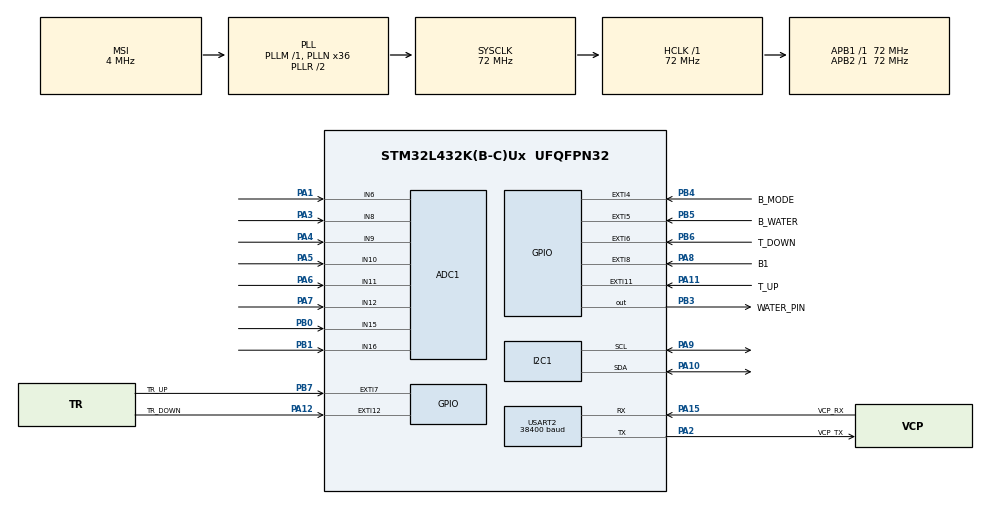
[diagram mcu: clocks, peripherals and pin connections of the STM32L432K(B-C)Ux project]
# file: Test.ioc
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ADC1.Channel-0\#ChannelRegularConversion=ADC_CHANNEL_6
ADC1.Channel-1\#ChannelRegularConversion=ADC_CHANNEL_8
ADC1.Channel-2\#ChannelRegularConversion=ADC_CHANNEL_9
ADC1.Channel-3\#ChannelRegularConversion=ADC_CHANNEL_10
ADC1.Channel-4\#ChannelRegularConversion=ADC_CHANNEL_11
ADC1.Channel-5\#ChannelRegularConversion=ADC_CHANNEL_12
ADC1.Channel-6\#ChannelRegularConversion=ADC_CHANNEL_15
ADC1.Channel-7\#ChannelRegularConversion=ADC_CHANNEL_16
ADC1.NbrOfConversion=8
ADC1.NbrOfConversionFlag=1
ADC1.OffsetNumber-0\#ChannelRegularConversion=ADC_OFFSET_NONE
ADC1.OffsetNumber-1\#ChannelRegularConversion=ADC_OFFSET_NONE
ADC1.OffsetNumber-2\#ChannelRegularConversion=ADC_OFFSET_NONE
ADC1.OffsetNumber-3\#ChannelRegularConversion=ADC_OFFSET_NONE
ADC1.OffsetNumber-4\#ChannelRegularConversion=ADC_OFFSET_NONE
ADC1.OffsetNumber-5\#ChannelRegularConversion=ADC_OFFSET_NONE
ADC1.OffsetNumber-6\#ChannelRegularConversion=ADC_OFFSET_NONE
ADC1.OffsetNumber-7\#ChannelRegularConversion=ADC_OFFSET_NONE
ADC1.Rank-0\#ChannelRegularConversion=1
ADC1.Rank-1\#ChannelRegularConversion=2
ADC1.Rank-2\#ChannelRegularConversion=3
ADC1.Rank-3\#ChannelRegularConversion=4
ADC1.Rank-4\#ChannelRegularConversion=5
ADC1.Rank-5\#ChannelRegularConversion=6
ADC1.Rank-6\#ChannelRegularConversion=7
ADC1.Rank-7\#ChannelRegularConversion=8
ADC1.SamplingTime-0\#ChannelRegularConversion=ADC_SAMPLETIME_24CYCLES_5
ADC1.SamplingTime-1\#ChannelRegularConversion=ADC_SAMPLETIME_24CYCLES_5
ADC1.SamplingTime-2\#ChannelRegularConversion=ADC_SAMPLETIME_24CYCLES_5
ADC1.SamplingTime-3\#ChannelRegularConversion=ADC_SAMPLETIME_24CYCLES_5
ADC1.SamplingTime-4\#ChannelRegularConversion=ADC_SAMPLETIME_24CYCLES_5
ADC1.SamplingTime-5\#ChannelRegularConversion=ADC_SAMPLETIME_24CYCLES_5
ADC1.SamplingTime-6\#ChannelRegularConversion=ADC_SAMPLETIME_24CYCLES_5
ADC1.SamplingTime-7\#ChannelRegularConversion=ADC_SAMPLETIME_24CYCLES_5
ADC1.master=1
Dma.ADC1.0.Direction=DMA_PERIPH_TO_MEMORY
Dma.ADC1.0.Instance=DMA1_Channel1
Dma.ADC1.0.MemDataAlignment=DMA_MDATAALIGN_WORD
Dma.ADC1.0.MemInc=DMA_MINC_ENABLE
Dma.ADC1.0.Mode=DMA_CIRCULAR
Dma.ADC1.0.PeriphDataAlignment=DMA_PDATAALIGN_WORD
Dma.ADC1.0.PeriphInc=DMA_PINC_DISABLE
Dma.ADC1.0.Priority=DMA_PRIORITY_LOW
Dma.Request0=ADC1
I2C1.Timing=0x10808DD3
Mcu.Family=STM32L4
Mcu.Name=STM32L432K(B-C)Ux
Mcu.Package=UFQFPN32
NVIC.DMA1_Channel1_IRQn=true\:0\:0\:false\:false\:true\:false\:true\:true
NVIC.EXTI15_10_IRQn=true\:1\:0\:true\:false\:true\:true\:true\:true
NVIC.EXTI4_IRQn=true\:1\:0\:true\:false\:true\:true\:true\:true
NVIC.EXTI9_5_IRQn=true\:1\:0\:true\:false\:true\:true\:true\:true
NVIC.PriorityGroup=NVIC_PRIORITYGROUP_4
NVIC.TIM6_DAC_IRQn=true\:0\:0\:false\:false\:true\:true\:true\:true
PA0.GPIO_Label=MCO [High speed clock in]
PA0.Mode=HSE-External-Clock-Source-for-LittleOrca
PA0.Signal=RCC_CK_IN
PA1.Signal=ADCx_IN6
PA10.Mode=I2C
PA10.Signal=I2C1_SDA
PA11.GPIO_Label=T_UP
PA11.GPIO_ModeDefaultEXTI=GPIO_MODE_IT_FALLING
PA11.Signal=GPXTI11
PA12.GPIO_Label=TR_DOWN
PA12.GPIO_ModeDefaultEXTI=GPIO_MODE_IT_FALLING
PA12.Signal=GPXTI12
PA13\ (JTMS-SWDIO).GPIO_Label=SWDIO
PA13\ (JTMS-SWDIO).Mode=Serial_Wire
PA13\ (JTMS-SWDIO).Signal=SYS_JTMS-SWDIO
PA14\ (JTCK-SWCLK).GPIO_Label=SWCLK
PA14\ (JTCK-SWCLK).Mode=Serial_Wire
PA14\ (JTCK-SWCLK).Signal=SYS_JTCK-SWCLK
PA15\ (JTDI).GPIO_Label=VCP_RX
PA15\ (JTDI).Mode=Asynchronous
PA15\ (JTDI).Signal=USART2_RX
PA2.GPIO_Label=VCP_TX
PA2.Mode=Asynchronous
PA2.Signal=USART2_TX
PA3.Signal=ADCx_IN8
PA4.Signal=ADCx_IN9
PA5.Signal=ADCx_IN10
PA6.Signal=ADCx_IN11
PA7.Signal=ADCx_IN12
PA8.GPIO_Label=B1
PA8.GPIO_ModeDefaultEXTI=GPIO_MODE_IT_FALLING
PA8.Signal=GPXTI8
PA9.Mode=I2C
PA9.Signal=I2C1_SCL
PB0.Signal=ADCx_IN15
PB1.Signal=ADCx_IN16
PB3\ (JTDO-TRACESWO).GPIO_Label=WATER_PIN
PB3\ (JTDO-TRACESWO).Signal=GPIO_Output
PB4\ (NJTRST).GPIO_Label=B_MODE
PB4\ (NJTRST).GPIO_ModeDefaultEXTI=GPIO_MODE_IT_FALLING
PB4\ (NJTRST).Signal=GPXTI4
PB5.GPIO_Label=B_WATER
PB5.GPIO_ModeDefaultEXTI=GPIO_MODE_IT_FALLING
PB5.Signal=GPXTI5
PB6.GPIO_Label=T_DOWN
PB6.GPIO_ModeDefaultEXTI=GPIO_MODE_IT_FALLING
PB6.Signal=GPXTI6
PB7.GPIO_Label=TR_UP
PB7.GPIO_ModeDefaultEXTI=GPIO_MODE_IT_FALLING
PB7.Signal=GPXTI7
PC14-OSC32_IN\ (PC14).Mode=LSE-External-Oscillator
PC14-OSC32_IN\ (PC14).Signal=RCC_OSC32_IN
PC15-OSC32_OUT\ (PC15).Mode=LSE-External-Oscillator
PC15-OSC32_OUT\ (PC15).Signal=RCC_OSC32_OUT
ProjectManager.HeapSize=0x200
ProjectManager.StackSize=0x400
ProjectManager.TargetToolchain=STM32CubeIDE
RCC.ADCFreq_Value=32000000
RCC.AHBFreq_Value=72000000
RCC.APB1Freq_Value=72000000
RCC.APB1TimFreq_Value=72000000
RCC.APB2Freq_Value=72000000
RCC.APB2TimFreq_Value=72000000
RCC.CortexFreq_Value=72000000
RCC.HCLKFreq_Value=72000000
RCC.HSE_VALUE=8000000
RCC.HSI16_VALUE=16000000
RCC.HSI48_VALUE=48000000
RCC.HSI_VALUE=16000000
RCC.MSI_VALUE=4000000
RCC.PLLMUL=RCC_PLLMUL_4
RCC.PLLN=36
RCC.PLLSAI1N=16
RCC.SYSCLKFreq_VALUE=72000000
RCC.SYSCLKSource=RCC_SYSCLKSOURCE_PLLCLK
RCC.USBFreq_Value=32000000
RCC.VCOOutputFreq_Value=144000000
SH.ADCx_IN10.0=ADC1_IN10,IN10-Single-Ended
SH.ADCx_IN11.0=ADC1_IN11,IN11-Single-Ended
SH.ADCx_IN12.0=ADC1_IN12,IN12-Single-Ended
SH.ADCx_IN15.0=ADC1_IN15,IN15-Single-Ended
SH.ADCx_IN16.0=ADC1_IN16,IN16-Single-Ended
SH.ADCx_IN6.0=ADC1_IN6,IN6-Single-Ended
SH.ADCx_IN8.0=ADC1_IN8,IN8-Single-Ended
SH.ADCx_IN9.0=ADC1_IN9,IN9-Single-Ended
TIM2.Prescaler=72-1
TIM6.Period=10000
TIM6.Prescaler=7200-1
USART2.BaudRate=38400
USART2.VirtualMode-Asynchronous=VM_ASYNC
VP_TIM2_VS_ClockSourceINT.Mode=Internal
VP_TIM6_VS_ClockSourceINT.Mode=Enable_Timer
board=NUCLEO-L432KC

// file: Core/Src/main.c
/* USER CODE BEGIN Header */
/**
  ******************************************************************************
  * @file           : main.c
  * @brief          : Main program body
  ******************************************************************************
  * @attention
  *
  * Copyright (c) 2022 STMicroelectronics.
  * All rights reserved.
  *
  * This software is licensed under terms that can be found in the LICENSE file
  * in the root directory of this software component.
  * If no LICENSE file comes with this software, it is provided AS-IS.
  *
  ******************************************************************************
  */
/* USER CODE END Header */
#include "main.h"
#include "adc.h"
#include "dma.h"
#include "i2c.h"
#include "tim.h"
#include "usart.h"
#include "gpio.h"

/* USER CODE BEGIN Includes */
	#include "globalVars.h"
	#include "lcd_i2c.h"
	#include "stdio.h"
/* USER CODE END Includes */

void SystemClock_Config(void);

int main(void)
{

  /* MCU Configuration--------------------------------------------------------*/

  /* Reset of all peripherals, Initializes the Flash interface and the Systick. */
  HAL_Init();

  /* Configure the system clock */
  SystemClock_Config();

  /* Initialize all configured peripherals */
  MX_GPIO_Init();
  MX_DMA_Init();
  MX_USART2_UART_Init();
  MX_ADC1_Init();
  MX_I2C1_Init();
  MX_TIM2_Init();
  MX_TIM6_Init();
  /* USER CODE BEGIN 2 */
  HAL_TIM_Base_Start(&htim2); 	 // Start timer2 w trybie normalnym

  disp.addr = (0x27 << 1);		 // Adres LCD'ka po I2C
  disp.bl = true;				 // Włącz podświetlenie
  lcd_init(&disp);				 // Inicjalizuj LCD
  HAL_Delay(500);				 // Bez tego delaya nie wstanie STMka po utracie zasilania przez timer_IT

  HAL_TIM_Base_Start_IT(&htim6); // Start timera6 w trybie przerwania

HAL_GPIO_WritePin(WATER_PIN_GPIO_Port, WATER_PIN_Pin, GPIO_PIN_SET); // odwrócona logika włączania przekaźnika zatem trza podać stan wysoki zeby wyłączyć

  /* USER CODE END 2 */

  /* Infinite loop */
  while (1)
  {

    /* USER CODE BEGIN 3 */
  /*Zwiększenie responsywności panelu sterowania*/
	 if (valueChanged == 1){
		 delay_us(500000);
		 displayReadings(disp_No);
		 sprintf(UartOutText, "C/%d/%d/%d\n", moistureThreshold, waterMode, waterTimeMins);
		 sendString_UART(UartOutText);
		 valueChanged = 0;
	 }

  }
  /* USER CODE END 3 */
}

void SystemClock_Config(void)
{
  RCC_OscInitTypeDef RCC_OscInitStruct = {0};
  RCC_ClkInitTypeDef RCC_ClkInitStruct = {0};

  /** Configure the main internal regulator output voltage
  */
  if (HAL_PWREx_ControlVoltageScaling(PWR_REGULATOR_VOLTAGE_SCALE1) != HAL_OK)
  {
    Error_Handler();
  }

  /** Configure LSE Drive Capability
  */
  HAL_PWR_EnableBkUpAccess();
  __HAL_RCC_LSEDRIVE_CONFIG(RCC_LSEDRIVE_LOW);

  /** Initializes the RCC Oscillators according to the specified parameters
  * in the RCC_OscInitTypeDef structure.
  */
  RCC_OscInitStruct.OscillatorType = RCC_OSCILLATORTYPE_LSE|RCC_OSCILLATORTYPE_MSI;
  RCC_OscInitStruct.LSEState = RCC_LSE_ON;
  RCC_OscInitStruct.MSIState = RCC_MSI_ON;
  RCC_OscInitStruct.MSICalibrationValue = 0;
  RCC_OscInitStruct.MSIClockRange = RCC_MSIRANGE_6;
  RCC_OscInitStruct.PLL.PLLState = RCC_PLL_ON;
  RCC_OscInitStruct.PLL.PLLSource = RCC_PLLSOURCE_MSI;
  RCC_OscInitStruct.PLL.PLLM = 1;
  RCC_OscInitStruct.PLL.PLLN = 36;
  RCC_OscInitStruct.PLL.PLLP = RCC_PLLP_DIV7;
  RCC_OscInitStruct.PLL.PLLQ = RCC_PLLQ_DIV2;
  RCC_OscInitStruct.PLL.PLLR = RCC_PLLR_DIV2;
  if (HAL_RCC_OscConfig(&RCC_OscInitStruct) != HAL_OK)
  {
    Error_Handler();
  }

  /** Initializes the CPU, AHB and APB buses clocks
  */
  RCC_ClkInitStruct.ClockType = RCC_CLOCKTYPE_HCLK|RCC_CLOCKTYPE_SYSCLK
                              |RCC_CLOCKTYPE_PCLK1|RCC_CLOCKTYPE_PCLK2;
  RCC_ClkInitStruct.SYSCLKSource = RCC_SYSCLKSOURCE_PLLCLK;
  RCC_ClkInitStruct.AHBCLKDivider = RCC_SYSCLK_DIV1;
  RCC_ClkInitStruct.APB1CLKDivider = RCC_HCLK_DIV1;
  RCC_ClkInitStruct.APB2CLKDivider = RCC_HCLK_DIV1;

  if (HAL_RCC_ClockConfig(&RCC_ClkInitStruct, FLASH_LATENCY_4) != HAL_OK)
  {
    Error_Handler();
  }

  /** Enable MSI Auto calibration
  */
  HAL_RCCEx_EnableMSIPLLMode();
}

void Error_Handler(void)
{
  __disable_irq();
  while (1)
  {
  }
}
